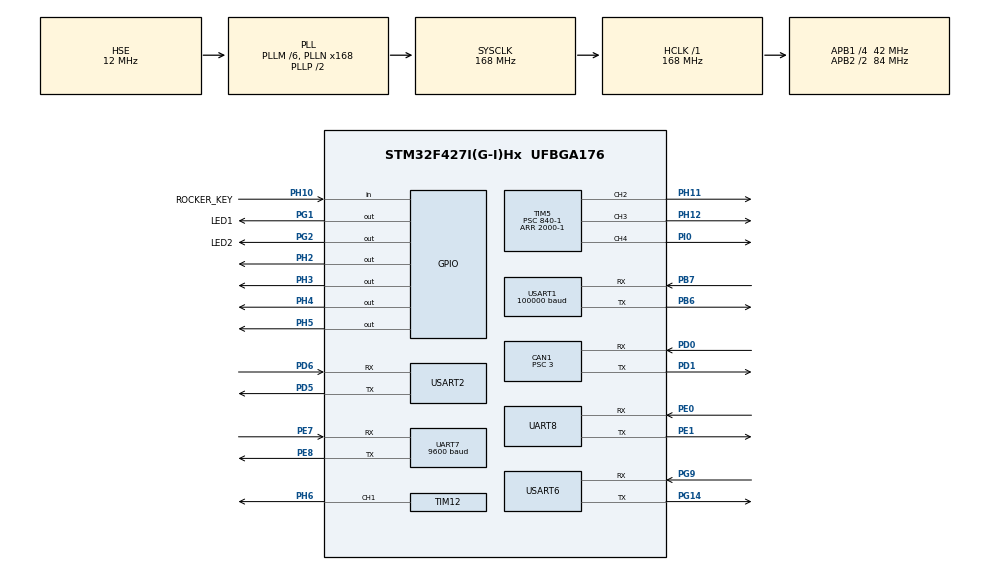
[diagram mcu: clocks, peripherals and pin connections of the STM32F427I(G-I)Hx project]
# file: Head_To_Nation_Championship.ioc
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CAN1.BS1=CAN_BS1_10TQ
CAN1.BS2=CAN_BS2_3TQ
CAN1.CalculateBaudRate=1000000
CAN1.CalculateTimeBit=1000
CAN1.CalculateTimeQuantum=71.42857142857143
CAN1.Prescaler=3
Dma.Request0=USART1_RX
Dma.Request1=UART8_RX
Dma.Request2=USART2_RX
Dma.UART8_RX.1.Direction=DMA_PERIPH_TO_MEMORY
Dma.UART8_RX.1.FIFOMode=DMA_FIFOMODE_DISABLE
Dma.UART8_RX.1.Instance=DMA1_Stream6
Dma.UART8_RX.1.MemDataAlignment=DMA_MDATAALIGN_BYTE
Dma.UART8_RX.1.MemInc=DMA_MINC_ENABLE
Dma.UART8_RX.1.Mode=DMA_CIRCULAR
Dma.UART8_RX.1.PeriphDataAlignment=DMA_PDATAALIGN_BYTE
Dma.UART8_RX.1.PeriphInc=DMA_PINC_DISABLE
Dma.UART8_RX.1.Priority=DMA_PRIORITY_LOW
Dma.USART1_RX.0.Direction=DMA_PERIPH_TO_MEMORY
Dma.USART1_RX.0.FIFOMode=DMA_FIFOMODE_DISABLE
Dma.USART1_RX.0.Instance=DMA2_Stream2
Dma.USART1_RX.0.MemDataAlignment=DMA_MDATAALIGN_BYTE
Dma.USART1_RX.0.MemInc=DMA_MINC_ENABLE
Dma.USART1_RX.0.Mode=DMA_CIRCULAR
Dma.USART1_RX.0.PeriphDataAlignment=DMA_PDATAALIGN_BYTE
Dma.USART1_RX.0.PeriphInc=DMA_PINC_DISABLE
Dma.USART1_RX.0.Priority=DMA_PRIORITY_LOW
Dma.USART2_RX.2.Direction=DMA_PERIPH_TO_MEMORY
Dma.USART2_RX.2.FIFOMode=DMA_FIFOMODE_DISABLE
Dma.USART2_RX.2.Instance=DMA1_Stream5
Dma.USART2_RX.2.MemDataAlignment=DMA_MDATAALIGN_BYTE
Dma.USART2_RX.2.MemInc=DMA_MINC_ENABLE
Dma.USART2_RX.2.Mode=DMA_CIRCULAR
Dma.USART2_RX.2.PeriphDataAlignment=DMA_PDATAALIGN_BYTE
Dma.USART2_RX.2.PeriphInc=DMA_PINC_DISABLE
Dma.USART2_RX.2.Priority=DMA_PRIORITY_LOW
FREERTOS.Tasks01=defaultTask,0,128,StartDefaultTask,Default,NULL,Dynamic,NULL,NULL;DJI_Motor_Task,-2,128,DJI_Motor_Ctrl_Task_Entry,As weak,NULL,Dynamic,NULL,NULL;Mec_Arm_Task,0,128,Mec_Arm_Ctrl_Task_Entry,As weak,NULL,Dynamic,NULL,NULL;Chassis_Task,0,128,Chassis_Task_Entry,As weak,NULL,Dynamic,NULL,NULL;RC_Task,2,128,RC_Task_Entry,As weak,NULL,Dynamic,NULL,NULL;Navigation_Task,0,128,Navigation_Task_Entry,As weak,NULL,Dynamic,NULL,NULL;Task_Flow,2,128,Task_Flow_Entry,As weak,NULL,Dynamic,NULL,NULL
Mcu.Family=STM32F4
Mcu.Name=STM32F427I(G-I)Hx
Mcu.Package=UFBGA176
NVIC.CAN1_RX0_IRQn=true\:5\:0\:false\:false\:true\:true\:true\:true\:true
NVIC.CAN1_TX_IRQn=true\:5\:0\:false\:false\:true\:true\:true\:true\:true
NVIC.DMA1_Stream5_IRQn=true\:5\:0\:false\:false\:true\:true\:false\:true\:true
NVIC.DMA1_Stream6_IRQn=true\:5\:0\:false\:false\:true\:true\:false\:true\:true
NVIC.DMA2_Stream2_IRQn=true\:5\:0\:false\:false\:true\:true\:false\:true\:true
NVIC.PriorityGroup=NVIC_PRIORITYGROUP_4
NVIC.TIM1_UP_TIM10_IRQn=true\:15\:0\:false\:false\:true\:false\:false\:true\:true
NVIC.TimeBase=TIM1_UP_TIM10_IRQn
NVIC.TimeBaseIP=TIM1
NVIC.UART7_IRQn=true\:5\:0\:false\:false\:true\:true\:true\:true\:true
NVIC.UART8_IRQn=true\:5\:0\:false\:false\:true\:true\:true\:true\:true
NVIC.USART1_IRQn=true\:5\:0\:false\:false\:true\:true\:true\:true\:true
NVIC.USART2_IRQn=true\:5\:0\:false\:false\:true\:true\:true\:true\:true
NVIC.USART6_IRQn=true\:5\:0\:false\:false\:true\:true\:true\:true\:true
PA13.Mode=Serial_Wire
PA13.Signal=SYS_JTMS-SWDIO
PA14.Mode=Serial_Wire
PA14.Signal=SYS_JTCK-SWCLK
PB6.Mode=Asynchronous
PB6.Signal=USART1_TX
PB7.Mode=Asynchronous
PB7.Signal=USART1_RX
PD0.Mode=CAN_Activate
PD0.Signal=CAN1_RX
PD1.Mode=CAN_Activate
PD1.Signal=CAN1_TX
PD5.Mode=Asynchronous
PD5.Signal=USART2_TX
PD6.Mode=Asynchronous
PD6.Signal=USART2_RX
PE0.Mode=Asynchronous
PE0.Signal=UART8_RX
PE1.Mode=Asynchronous
PE1.Signal=UART8_TX
PE7.Mode=Asynchronous
PE7.Signal=UART7_RX
PE8.Mode=Asynchronous
PE8.Signal=UART7_TX
PG1.GPIO_Label=LED1
PG1.Signal=GPIO_Output
PG14.Mode=Asynchronous
PG14.Signal=USART6_TX
PG2.GPIO_Label=LED2
PG2.Signal=GPIO_Output
PG9.Mode=Asynchronous
PG9.Signal=USART6_RX
PH0/OSC_IN.Mode=HSE-External-Oscillator
PH0/OSC_IN.Signal=RCC_OSC_IN
PH1/OSC_OUT.Mode=HSE-External-Oscillator
PH1/OSC_OUT.Signal=RCC_OSC_OUT
PH10.GPIO_Label=ROCKER_KEY
PH10.GPIO_PuPd=GPIO_PULLUP
PH10.Signal=GPIO_Input
PH11.Signal=S_TIM5_CH2
PH12.Signal=S_TIM5_CH3
PH2.Signal=GPIO_Output
PH3.Signal=GPIO_Output
PH4.Signal=GPIO_Output
PH5.Signal=GPIO_Output
PH6.Signal=S_TIM12_CH1
PI0.Signal=S_TIM5_CH4
ProjectManager.HeapSize=0x200
ProjectManager.StackSize=0x400
ProjectManager.TargetToolchain=MDK-ARM V5.32
RCC.48MHZClocksFreq_Value=84000000
RCC.AHBFreq_Value=168000000
RCC.APB1CLKDivider=RCC_HCLK_DIV4
RCC.APB1Freq_Value=42000000
RCC.APB1TimFreq_Value=84000000
RCC.APB2CLKDivider=RCC_HCLK_DIV2
RCC.APB2Freq_Value=84000000
RCC.APB2TimFreq_Value=168000000
RCC.CortexFreq_Value=168000000
RCC.HCLKFreq_Value=168000000
RCC.HSE_VALUE=12000000
RCC.HSI_VALUE=16000000
RCC.LSE_VALUE=32768
RCC.PLLM=6
RCC.PLLN=168
RCC.PLLSourceVirtual=RCC_PLLSOURCE_HSE
RCC.SYSCLKFreq_VALUE=168000000
RCC.SYSCLKSource=RCC_SYSCLKSOURCE_PLLCLK
RCC.VCOOutputFreq_Value=336000000
SH.S_TIM12_CH1.0=TIM12_CH1,PWM Generation1 CH1
SH.S_TIM5_CH2.0=TIM5_CH2,PWM Generation2 CH2
SH.S_TIM5_CH3.0=TIM5_CH3,PWM Generation3 CH3
SH.S_TIM5_CH4.0=TIM5_CH4,PWM Generation4 CH4
TIM12.Channel-PWM\ Generation1\ CH1=TIM_CHANNEL_1
TIM12.Period=500-1
TIM12.Prescaler=84-1
TIM5.Channel-PWM\ Generation2\ CH2=TIM_CHANNEL_2
TIM5.Channel-PWM\ Generation3\ CH3=TIM_CHANNEL_3
TIM5.Channel-PWM\ Generation4\ CH4=TIM_CHANNEL_4
TIM5.Period=2000-1
TIM5.Prescaler=840-1
UART7.BaudRate=9600
UART7.VirtualMode=Asynchronous
UART8.VirtualMode=Asynchronous
USART1.BaudRate=100000
USART1.Parity=PARITY_EVEN
USART1.StopBits=STOPBITS_2
USART1.VirtualMode=VM_ASYNC
USART1.WordLength=WORDLENGTH_9B
USART2.VirtualMode=VM_ASYNC
USART6.VirtualMode=VM_ASYNC
VP_FREERTOS_VS_CMSIS_V1.Mode=CMSIS_V1
VP_SYS_VS_tim1.Mode=TIM1
board=custom

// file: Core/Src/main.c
/* USER CODE BEGIN Header */
/**
  ******************************************************************************
  * @file           : main.c
  * @brief          : Main program body
  ******************************************************************************
  * @attention
  *
  * Copyright (c) 2023 STMicroelectronics.
  * All rights reserved.
  *
  * This software is licensed under terms that can be found in the LICENSE file
  * in the root directory of this software component.
  * If no LICENSE file comes with this software, it is provided AS-IS.
  *
  ******************************************************************************
  */
/* USER CODE END Header */
#include "main.h"
#include "cmsis_os.h"
#include "can.h"
#include "dma.h"
#include "tim.h"
#include "usart.h"
#include "gpio.h"

/* USER CODE BEGIN Includes */
#include "bsp_can.h"
#include "bsp_usart.h"
/* USER CODE END Includes */

void SystemClock_Config(void);
void MX_FREERTOS_Init(void);

int main(void)
{

  /* MCU Configuration--------------------------------------------------------*/

  /* Reset of all peripherals, Initializes the Flash interface and the Systick. */
  HAL_Init();

  /* Configure the system clock */
  SystemClock_Config();

  /* Initialize all configured peripherals */
  MX_GPIO_Init();
  MX_CAN1_Init();
  MX_DMA_Init();
  MX_TIM5_Init();
  MX_USART1_UART_Init();
  MX_USART6_UART_Init();
  MX_UART8_Init();
  MX_TIM12_Init();
  MX_UART7_Init();
  MX_USART2_UART_Init();
  /* USER CODE BEGIN 2 */

	Usart_IdleIRQ_Init(&huart1);
	Usart_IdleIRQ_Init(&huart2);
	Usart_IdleIRQ_Init(&huart6);
	Usart_IdleIRQ_Init(&huart8);
	/* CAN 过滤器初始化 */
	CAN_Filter_Init();
  /* USER CODE END 2 */

  /* Call init function for freertos objects (in freertos.c) */
  MX_FREERTOS_Init();

  /* Start scheduler */
  osKernelStart();

  /* We should never get here as control is now taken by the scheduler */
  /* Infinite loop */
  while (1)
  {

  }
}

void SystemClock_Config(void)
{
  RCC_OscInitTypeDef RCC_OscInitStruct = {0};
  RCC_ClkInitTypeDef RCC_ClkInitStruct = {0};

  /** Configure the main internal regulator output voltage
  */
  __HAL_RCC_PWR_CLK_ENABLE();
  __HAL_PWR_VOLTAGESCALING_CONFIG(PWR_REGULATOR_VOLTAGE_SCALE1);

  /** Initializes the RCC Oscillators according to the specified parameters
  * in the RCC_OscInitTypeDef structure.
  */
  RCC_OscInitStruct.OscillatorType = RCC_OSCILLATORTYPE_HSE;
  RCC_OscInitStruct.HSEState = RCC_HSE_ON;
  RCC_OscInitStruct.PLL.PLLState = RCC_PLL_ON;
  RCC_OscInitStruct.PLL.PLLSource = RCC_PLLSOURCE_HSE;
  RCC_OscInitStruct.PLL.PLLM = 6;
  RCC_OscInitStruct.PLL.PLLN = 168;
  RCC_OscInitStruct.PLL.PLLP = RCC_PLLP_DIV2;
  RCC_OscInitStruct.PLL.PLLQ = 4;
  if (HAL_RCC_OscConfig(&RCC_OscInitStruct) != HAL_OK)
  {
    Error_Handler();
  }

  /** Initializes the CPU, AHB and APB buses clocks
  */
  RCC_ClkInitStruct.ClockType = RCC_CLOCKTYPE_HCLK|RCC_CLOCKTYPE_SYSCLK
                              |RCC_CLOCKTYPE_PCLK1|RCC_CLOCKTYPE_PCLK2;
  RCC_ClkInitStruct.SYSCLKSource = RCC_SYSCLKSOURCE_PLLCLK;
  RCC_ClkInitStruct.AHBCLKDivider = RCC_SYSCLK_DIV1;
  RCC_ClkInitStruct.APB1CLKDivider = RCC_HCLK_DIV4;
  RCC_ClkInitStruct.APB2CLKDivider = RCC_HCLK_DIV2;

  if (HAL_RCC_ClockConfig(&RCC_ClkInitStruct, FLASH_LATENCY_5) != HAL_OK)
  {
    Error_Handler();
  }
}

void HAL_TIM_PeriodElapsedCallback(TIM_HandleTypeDef *htim)
{
  if (htim->Instance == TIM1) {
    HAL_IncTick();
  }
}

void Error_Handler(void)
{
  __disable_irq();
  while (1)
  {
  }
}

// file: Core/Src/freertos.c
/* USER CODE BEGIN Header */
/**
  ******************************************************************************
  * File Name          : freertos.c
  * Description        : Code for freertos applications
  ******************************************************************************
  * @attention
  *
  * Copyright (c) 2023 STMicroelectronics.
  * All rights reserved.
  *
  * This software is licensed under terms that can be found in the LICENSE file
  * in the root directory of this software component.
  * If no LICENSE file comes with this software, it is provided AS-IS.
  *
  ******************************************************************************
  */
/* USER CODE END Header */

#include "FreeRTOS.h"
#include "task.h"
#include "main.h"
#include "cmsis_os.h"

/* USER CODE BEGIN PD */
#define START_ROCKERKEY_TASK_SIZE 120
#define START_ROCKERKEY_TASK_PRIO osPriorityHigh

uint16_t START_FLAG = 0;
TaskHandle_t Start_RockerKey_Task_Handler;
/* USER CODE END PD */

osThreadId defaultTaskHandle;
osThreadId DJI_Motor_TaskHandle;
osThreadId Mec_Arm_TaskHandle;
osThreadId Chassis_TaskHandle;
osThreadId RC_TaskHandle;
osThreadId Navigation_TaskHandle;
osThreadId Task_FlowHandle;

/* USER CODE BEGIN FunctionPrototypes */
void Start_RockerKey_Task(void *pvParameters);
/* USER CODE END FunctionPrototypes */

void StartDefaultTask(void const * argument);
void DJI_Motor_Ctrl_Task_Entry(void const * argument);
void Mec_Arm_Ctrl_Task_Entry(void const * argument);
void Chassis_Task_Entry(void const * argument);
void RC_Task_Entry(void const * argument);
void Navigation_Task_Entry(void const * argument);
void Task_Flow_Entry(void const * argument);

void MX_FREERTOS_Init(void); /* (MISRA C 2004 rule 8.1) */

/* GetIdleTaskMemory prototype (linked to static allocation support) */
void vApplicationGetIdleTaskMemory( StaticTask_t **ppxIdleTaskTCBBuffer, StackType_t **ppxIdleTaskStackBuffer, uint32_t *pulIdleTaskStackSize );

/* USER CODE BEGIN GET_IDLE_TASK_MEMORY */
static StaticTask_t xIdleTaskTCBBuffer;
static StackType_t xIdleStack[configMINIMAL_STACK_SIZE];

void vApplicationGetIdleTaskMemory( StaticTask_t **ppxIdleTaskTCBBuffer, StackType_t **ppxIdleTaskStackBuffer, uint32_t *pulIdleTaskStackSize )
{
  *ppxIdleTaskTCBBuffer = &xIdleTaskTCBBuffer;
  *ppxIdleTaskStackBuffer = &xIdleStack[0];
  *pulIdleTaskStackSize = configMINIMAL_STACK_SIZE;
  /* place for user code */
}
/* USER CODE END GET_IDLE_TASK_MEMORY */

void MX_FREERTOS_Init(void) {

  /* Create the thread(s) */
  /* definition and creation of defaultTask */
  osThreadDef(defaultTask, StartDefaultTask, osPriorityNormal, 0, 128);
  defaultTaskHandle = osThreadCreate(osThread(defaultTask), NULL);

  /* definition and creation of DJI_Motor_Task */
  osThreadDef(DJI_Motor_Task, DJI_Motor_Ctrl_Task_Entry, osPriorityLow, 0, 128);
  DJI_Motor_TaskHandle = osThreadCreate(osThread(DJI_Motor_Task), NULL);

  /* definition and creation of Mec_Arm_Task */
  osThreadDef(Mec_Arm_Task, Mec_Arm_Ctrl_Task_Entry, osPriorityNormal, 0, 128);
  Mec_Arm_TaskHandle = osThreadCreate(osThread(Mec_Arm_Task), NULL);

  /* definition and creation of Chassis_Task */
  osThreadDef(Chassis_Task, Chassis_Task_Entry, osPriorityNormal, 0, 128);
  Chassis_TaskHandle = osThreadCreate(osThread(Chassis_Task), NULL);

  /* definition and creation of RC_Task */
  osThreadDef(RC_Task, RC_Task_Entry, osPriorityHigh, 0, 128);
  RC_TaskHandle = osThreadCreate(osThread(RC_Task), NULL);

  /* definition and creation of Navigation_Task */
  osThreadDef(Navigation_Task, Navigation_Task_Entry, osPriorityNormal, 0, 128);
  Navigation_TaskHandle = osThreadCreate(osThread(Navigation_Task), NULL);

  /* definition and creation of Task_Flow */
  osThreadDef(Task_Flow, Task_Flow_Entry, osPriorityHigh, 0, 128);
  Task_FlowHandle = osThreadCreate(osThread(Task_Flow), NULL);

  /* USER CODE BEGIN RTOS_THREADS */
	xTaskCreate(	(TaskFunction_t) 	Start_RockerKey_Task,
								(const char *)   	"Start_RockerKey_Task",
								(uint16_t)				START_ROCKERKEY_TASK_SIZE,
								(void *)					NULL,
								(UBaseType_t)			START_ROCKERKEY_TASK_PRIO,
								(TaskHandle_t *)	&Start_RockerKey_Task_Handler);
  /* add threads, ... */
  /* USER CODE END RTOS_THREADS */

}

void StartDefaultTask(void const * argument)
{
  /* USER CODE BEGIN StartDefaultTask */
  /* Infinite loop */
  for(;;)
  {
		HAL_GPIO_TogglePin(LED1_GPIO_Port,LED1_Pin); //因为使用3S供电 板上红色POWER灯不亮 以此来判断是否开机
    osDelay(500);
  }
  /* USER CODE END StartDefaultTask */
}

__weak void DJI_Motor_Ctrl_Task_Entry(void const * argument)
{
  for(;;)
  {
    osDelay(1);
  }
}

__weak void Mec_Arm_Ctrl_Task_Entry(void const * argument)
{
  for(;;)
  {
    osDelay(1);
  }
}

__weak void Chassis_Task_Entry(void const * argument)
{
  for(;;)
  {
    osDelay(1);
  }
}

__weak void RC_Task_Entry(void const * argument)
{
  for(;;)
  {
    osDelay(1);
  }
}

__weak void Navigation_Task_Entry(void const * argument)
{
  for(;;)
  {
    osDelay(1);
  }
}

__weak void Task_Flow_Entry(void const * argument)
{
  for(;;)
  {
    osDelay(1);
  }
}

/* USER CODE BEGIN Application */
void Start_RockerKey_Task(void *pvParameters)
{
	while(1)
	{
		if(HAL_GPIO_ReadPin(ROCKER_KEY_GPIO_Port,ROCKER_KEY_Pin) == GPIO_PIN_RESET)
		{
			osDelay(50);
			START_FLAG = 1;
			vTaskDelete(NULL);
		}
		osDelay(20);
	}
}
/* USER CODE END Application */
